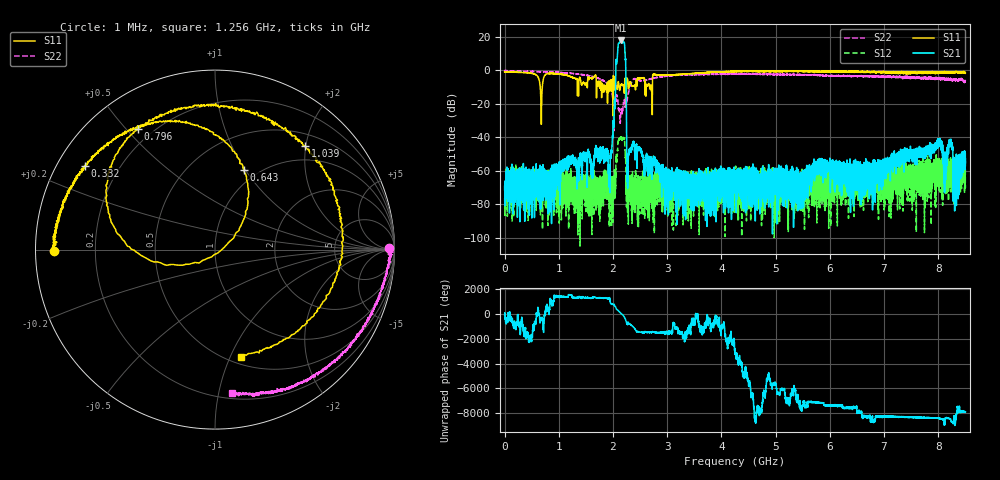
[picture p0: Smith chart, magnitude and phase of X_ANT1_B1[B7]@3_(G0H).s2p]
#  HZ  S  RI  R  50.00
! Rohde & Schwarz Vector Network Analyzer
! Rohde-Schwarz,ZNBT8-20Port,1318700624101681,3.50
! Created: UTC 7/15/2025, 2:13:07 PM
! freq[Hz]  re:S1010  im:S1010  re:S0310  im:S0310  re:S1003  im:S1003  re:S33  im:S33
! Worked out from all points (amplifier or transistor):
!   8500 points, 1 MHz to 8.5 GHz, reference 50 ohm
!   highest |S21| = 17.9 dB at 2.142 GHz (marker M1)
!   |S21| within 3 dB of that: 2.095 GHz to 2.215 GHz (120 MHz wide, 5.57 % of centre)
!   unconditionally stable (mu >= 1): start of sweep to end of sweep
!   at 1.417 GHz: K = 595735.27, MAG = -52.3 dB, |S12| = -73.6 dB
!   at 4.251 GHz: K = 137691.95, MAG = -49.9 dB, |S12| = -71.5 dB
!   at 8.5 GHz: K = 24826.04, MAG = -46.7 dB, |S12| = -53.5 dB
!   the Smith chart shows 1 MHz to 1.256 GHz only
!   S11 on the Smith chart (normalised r, x): 1 MHz: 0.05, -0.00; 332 MHz: 0.08, +0.29; 643 MHz: 0.86, +0.99; 796 MHz: 0.15, +0.54; 1.039 GHz: 0.72, +1.98; 1.256 GHz: 0.57, -1.10
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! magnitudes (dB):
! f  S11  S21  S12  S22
! 1 MHz  -0.9  -69.3  -76.3  -0.3
! 332 MHz  -1.3  -69.5  -68.1  -0.6
! 643 MHz  -6.5  -62.9  -72.6  -0.8
! 796 MHz  -2.0  -74.6  -78.3  -1.0
! 1.039 GHz  -2.3  -58.5  -76.7  -1.3
! 1.256 GHz  -4.2  -51.2  -70.4  -1.9
! 1.418 GHz  -8.3  -55.9  -66.8  -2.5
! 1.94 GHz  -11.1  -63.4  -64.9  -9.5
! 2.01 GHz  -3.3  -31.5  -68.4  -27.4
! 2.089 GHz  -8.7  12.3  -45.8  -18.1
! 2.142 GHz  -8.9  17.9  -39.9  -26.3
! 2.205 GHz  -11.9  16.6  -40.7  -18.9
! 2.292 GHz  -10.5  -48.3  -68.9  -12.5
! 2.834 GHz  -2.8  -60.6  -62.6  -4.2
! 4.251 GHz  -0.6  -62.5  -71.5  -2.2
! 5.667 GHz  -0.4  -57.4  -69.9  -2.7
! 7.084 GHz  -1.0  -58.8  -75.7  -3.7
! 8.016 GHz  -1.4  -42.6  -62.1  -5.0
! 8.124 GHz  -1.0  -63.1  -57.5  -5.2
! 8.228 GHz  -1.4  -43.9  -56.6  -5.3
! 8.339 GHz  -1.1  -64.1  -62.4  -5.4
! 8.5 GHz  -1.6  -53.0  -53.5  -6.1
